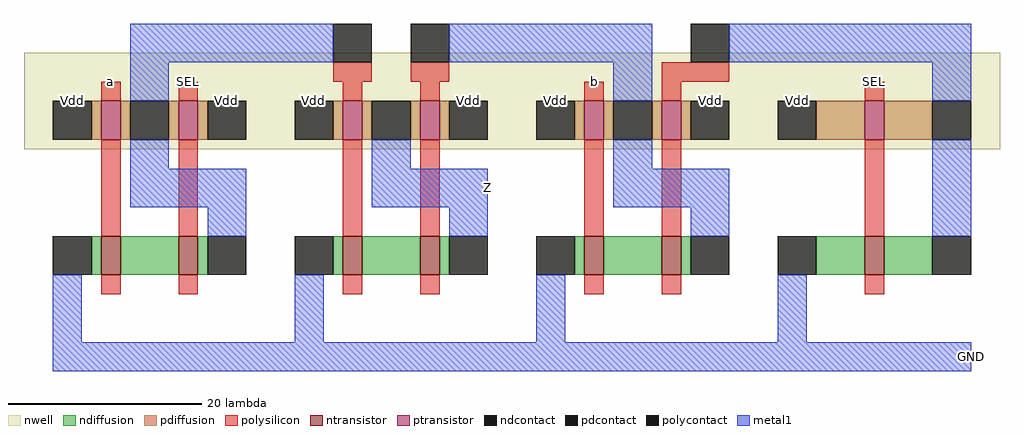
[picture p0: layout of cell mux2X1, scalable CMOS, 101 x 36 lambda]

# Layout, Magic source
magic
tech scmos
<< nwell >>
rect -47 6 54 16
<< polysilicon >>
rect -15 13 -11 15
rect -7 13 -3 15
rect 19 13 26 15
rect -39 11 -37 13
rect -31 11 -29 13
rect -14 11 -12 13
rect -6 11 -4 13
rect 11 11 13 13
rect 19 11 21 13
rect 40 11 42 13
rect -39 -3 -37 7
rect -31 -3 -29 7
rect -14 -3 -12 7
rect -6 -3 -4 7
rect 11 -3 13 7
rect 19 -3 21 7
rect 40 -3 42 7
rect -39 -9 -37 -7
rect -31 -9 -29 -7
rect -14 -9 -12 -7
rect -6 -9 -4 -7
rect 11 -9 13 -7
rect 19 -9 21 -7
rect 40 -9 42 -7
<< ndiffusion >>
rect -40 -7 -39 -3
rect -37 -7 -31 -3
rect -29 -7 -28 -3
rect -15 -7 -14 -3
rect -12 -7 -6 -3
rect -4 -7 -3 -3
rect 10 -7 11 -3
rect 13 -7 19 -3
rect 21 -7 22 -3
rect 35 -7 40 -3
rect 42 -7 47 -3
<< pdiffusion >>
rect -40 7 -39 11
rect -37 7 -36 11
rect -32 7 -31 11
rect -29 7 -28 11
rect -15 7 -14 11
rect -12 7 -11 11
rect -7 7 -6 11
rect -4 7 -3 11
rect 10 7 11 11
rect 13 7 14 11
rect 18 7 19 11
rect 21 7 22 11
rect 35 7 40 11
rect 42 7 47 11
<< metal1 >>
rect -36 15 -15 19
rect -3 15 18 19
rect 26 15 51 19
rect -36 11 -32 15
rect 14 11 18 15
rect 47 11 51 15
rect -36 4 -32 7
rect -11 4 -7 7
rect 14 4 18 7
rect -36 0 -24 4
rect -11 0 1 4
rect 14 0 26 4
rect -28 -3 -24 0
rect -3 -3 1 0
rect 22 -3 26 0
rect 47 -3 51 7
rect -44 -14 -41 -7
rect -19 -14 -16 -7
rect 6 -14 9 -7
rect 31 -14 34 -7
rect -44 -17 51 -14
<< ntransistor >>
rect -39 -7 -37 -3
rect -31 -7 -29 -3
rect -14 -7 -12 -3
rect -6 -7 -4 -3
rect 11 -7 13 -3
rect 19 -7 21 -3
rect 40 -7 42 -3
<< ptransistor >>
rect -39 7 -37 11
rect -31 7 -29 11
rect -14 7 -12 11
rect -6 7 -4 11
rect 11 7 13 11
rect 19 7 21 11
rect 40 7 42 11
<< polycontact >>
rect -15 15 -11 19
rect -7 15 -3 19
rect 22 15 26 19
<< ndcontact >>
rect -44 -7 -40 -3
rect -28 -7 -24 -3
rect -19 -7 -15 -3
rect -3 -7 1 -3
rect 6 -7 10 -3
rect 22 -7 26 -3
rect 31 -7 35 -3
rect 47 -7 51 -3
<< pdcontact >>
rect -44 7 -40 11
rect -36 7 -32 11
rect -28 7 -24 11
rect -19 7 -15 11
rect -11 7 -7 11
rect -3 7 1 11
rect 6 7 10 11
rect 14 7 18 11
rect 22 7 26 11
rect 31 7 35 11
rect 47 7 51 11
<< labels >>
rlabel polysilicon -31 13 -29 13 1 SEL
rlabel polysilicon 40 13 42 13 1 SEL
rlabel pdcontact -19 11 -15 11 1 Vdd
rlabel pdcontact -3 11 1 11 1 Vdd
rlabel pdcontact 6 11 10 11 1 Vdd
rlabel pdcontact 22 11 26 11 1 Vdd
rlabel metal1 1 0 1 4 3 Z
rlabel pdcontact -44 11 -40 11 1 Vdd
rlabel pdcontact -28 11 -24 11 1 Vdd
rlabel pdcontact 31 11 35 11 1 Vdd
rlabel metal1 51 -17 51 -14 8 GND
rlabel polysilicon -39 13 -37 13 1 a
rlabel polysilicon 11 13 13 13 1 b
<< end >>
